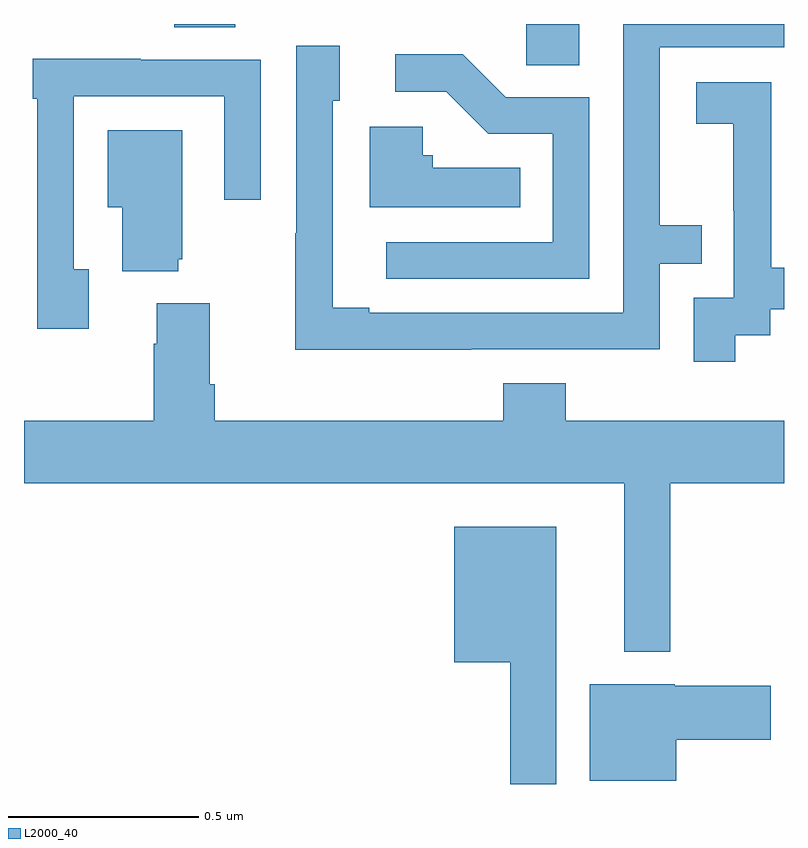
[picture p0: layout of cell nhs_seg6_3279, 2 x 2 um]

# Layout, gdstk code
import gdstk
lib = gdstk.Library(unit=1e-6, precision=1e-09)
def R(c, l, rs):  # rectangles x0, y0, x1, y1
    for r in rs: c.add(gdstk.rectangle(r[:2], r[2:], *l))
def P(c, l, *ps):  # polygons
    for p in ps: c.add(gdstk.Polygon(p, *l))
L2000_40 = (2000, 40)

nhs_seg6_3279 = lib.new_cell('nhs_seg6_3279')
R(nhs_seg6_3279, L2000_40, [(155.322,992.392,155.461,992.5), (154.396,992.491,154.556,992.5)])
P(nhs_seg6_3279, L2000_40, [(155.177,991.644),(155.673,991.644),(155.673,991.869),(155.783,991.869),(155.783,991.97),(155.673,991.97),(155.673,992.439),(156,992.439),(156,992.5),(155.577,992.5),(155.577,991.74),(154.909,991.74),(154.909,991.753),(154.812,991.753),(154.812,992.298),(154.831,992.298),(154.831,992.443),(154.716,992.443),(154.716,991.949),(154.714,991.949),(154.714,991.643),(155.177,991.643)],
  [(155.487,992.307),(155.268,992.307),(155.155,992.42),(154.977,992.42),(154.977,992.322),(155.111,992.322),(155.222,992.211),(155.391,992.211),(155.391,991.926),(154.953,991.926),(154.953,991.83),(155.487,991.83)],
  [(154.171,991.854),(154.131,991.854),(154.131,992.31),(154.527,992.31),(154.527,992.037),(154.623,992.037),(154.623,992.406),(154.307,992.406),(154.307,992.408),(154.023,992.408),(154.023,992.303),(154.035,992.303),(154.035,991.698),(154.171,991.698)],
  [(155.872,991.681),(155.964,991.681),(155.964,991.749),(156,991.749),(156,991.858),(155.966,991.858),(155.966,992.141),(155.967,992.141),(155.967,992.347),(155.769,992.347),(155.769,992.237),(155.867,992.237),(155.867,992.009),(155.868,992.009),(155.868,991.779),(155.763,991.779),(155.763,991.611),(155.872,991.611)],
  [(155.306,992.122),(155.076,992.122),(155.076,992.154),(155.049,992.154),(155.049,992.23),(154.91,992.23),(154.91,992.018),(155.306,992.018)],
  [(154.406,991.881),(154.417,991.881),(154.417,992.221),(154.22,992.221),(154.22,992.018),(154.259,992.018),(154.259,991.85),(154.406,991.85)],
  [(155.701,991.292),(156,991.292),(156,991.456),(155.426,991.456),(155.426,991.555),(155.261,991.555),(155.261,991.456),(154.502,991.456),(154.502,991.552),(154.489,991.552),(154.489,991.765),(154.349,991.765),(154.349,991.658),(154.342,991.658),(154.342,991.456),(154,991.456),(154,991.292),(155.579,991.292),(155.579,990.848),(155.701,990.848)],
  [(155.401,991.177),(155.132,991.177),(155.132,990.821),(155.28,990.821),(155.28,990.5),(155.401,990.5)],
  [(155.716,990.616),(155.965,990.616),(155.965,990.758),(155.712,990.758),(155.712,990.763),(155.489,990.763),(155.489,990.509),(155.716,990.509)])

lib.write_gds('nhs_seg6_3279.gds')
